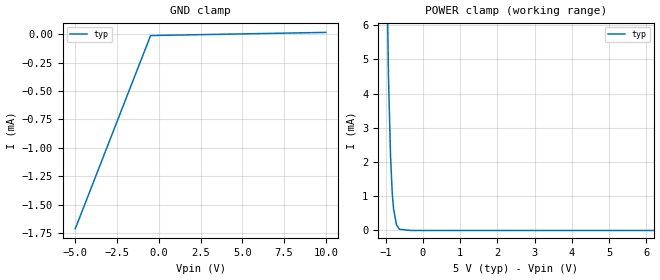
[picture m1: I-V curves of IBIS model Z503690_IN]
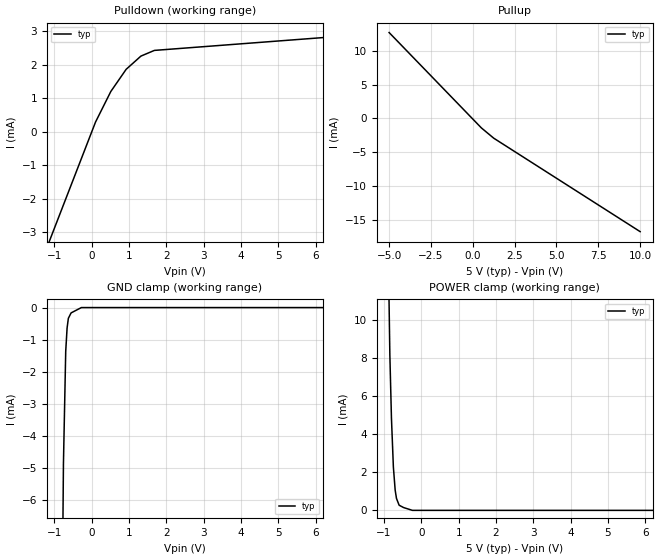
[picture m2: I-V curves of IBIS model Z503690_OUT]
| YOU ARE ONLY AUTHORIZED TO USE THIS SOFTWARE
| ACCORDING TO LICENSOR'S LICENSE RESTRICTIONS.
[IBIS Ver] 3.1
[File Name] mc14585bcl.ibs
[File Rev] 2.0
[Source] Measured and created by ICX Technology
[Date] Friday 7/14/00 9:07:57 AM
[Copyright]
| (C) COPYRIGHT 1993-2000
| MENTOR GRAPHICS CORPORATION
| ICX STANDARD LIBRARY, ICX PROJECT MODELING,
| ICX CUSTOM MODELING, ICX VENDOR MODEL
| ALL RIGHTS RESERVED.
| THE FOLLOWING ARE TRADEMARKS OR SERVICE MARKS OF
| MENTOR GRAPHICS CORPORATION:ICX (R), ICX STANDARD
| LIBRARY(R), ICX PROJECT MODELING(R), ICX CUSTOM
| MODELING(R), qualityIBIS(TM), MODELVIEWER(TM),
| AND MODELEDITOR(TM)
| ALL COPIES OF SOFTWARE, INCLUDING BUT NOT LIMITED TO
| ANY MODIFICATIONS, ENHANCEMENTS OR DERIVATIVE WORKS,
| MUST CONTAIN ALL MENTOR GRAPHICS CORPORATION'S
| NOTICES AND LEGENDS, INCLUDING THOSE EMBEDDED IN
| SOFTWARE AND THOSE AFFIXED TO SOFTWARE MEDIUM
| AND CONTAINER, AS RECEIVED FROM MENTOR GRAPHICS
| CORPORATION.
|  ZAP Model Builder 2.7
[Component] MC14585BCL
[Manufacturer] OnSemiconductor
[Package]
| variable   typ   min   max
R_pkg  .212ohms NA NA
L_pkg  4.758nH NA NA
C_pkg  1.944pF NA NA
[Pin] signal_name  model_name  R_pin  L_pin C_pin
1 B2 Z503690_IN .224 7.258n 2.683p
2 A2 Z503690_IN .216 5.258n 2.19p
3 A_EQ_B_O Z503690_OUT .208 3.758n 1.697p
4 A_GT_B_I Z503690_IN .2 2.758n 1.204p
5 A_LT_B_I Z503690_IN .2 2.758n 1.204p
6 A_EQ_B_I Z503690_IN .208 3.758n 1.697p
7 A1 Z503690_IN .216 5.258n 2.19p
8 VSS POWER .224 7.258n 2.683p
9 B1 Z503690_IN .224 7.258n 2.683p
10 A0 Z503690_IN .216 5.258n 2.19p
11 B0 Z503690_IN .208 3.758n 1.697p
12 A_LT_B_O Z503690_OUT .2 2.758n 1.204p
13 A_GT_B_O Z503690_OUT .2 2.758n 1.204p
14 B3 Z503690_IN .208 3.758n 1.697p
15 A3 Z503690_IN .216 5.258n 2.19p
16 VDD POWER .224 7.258n 2.683p
| Models and submodels in the file (2): Z503690_IN (Input), Z503690_OUT (Output)
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| (C) COPYRIGHT 1993-2000
| MENTOR GRAPHICS CORPORATION
| ICX STANDARD LIBRARY, ICX PROJECT MODELING,
| ICX CUSTOM MODELING, ICX VENDOR MODEL
| ALL RIGHTS RESERVED.
| THE FOLLOWING ARE TRADEMARKS OR SERVICE MARKS OF
| MENTOR GRAPHICS CORPORATION:ICX (R), ICX STANDARD
| LIBRARY(R), ICX PROJECT MODELING(R), ICX CUSTOM
| MODELING(R), qualityIBIS(TM), MODELVIEWER(TM),
| AND MODELEDITOR(TM)
| ALL COPIES OF SOFTWARE, INCLUDING BUT NOT LIMITED TO
| ANY MODIFICATIONS, ENHANCEMENTS OR DERIVATIVE WORKS,
| MUST CONTAIN ALL MENTOR GRAPHICS CORPORATION'S
| NOTICES AND LEGENDS, INCLUDING THOSE EMBEDDED IN
| SOFTWARE AND THOSE AFFIXED TO SOFTWARE MEDIUM
| AND CONTAINER, AS RECEIVED FROM MENTOR GRAPHICS
| CORPORATION.
| Model Application Version 1.89 2/18/99.
[Model] Z503690_IN
Model_type Input
Vinl = 1.500V
Vinh = 3.500V
C_comp 4.000pF NA NA
| variable typ   min   max
[Voltage Range] 5.000V NA NA
[GND Clamp Reference] 0.000V NA NA
[POWER Clamp Reference] 5.000V NA NA
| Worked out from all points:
|   POWER clamp passes 1 mA (typ) near -0.81 V on its own axis
[GND Clamp]
-5V       -1.712mA   NA         NA
-493.1mV  -12.24uA   NA         NA
10V       15.43uA    NA         NA
[POWER Clamp]
-5V       456mA      NA         NA
-1.001V   10.49mA    NA         NA
-922mV    4.494mA    NA         NA
-867mV    2.182mA    NA         NA
-820mV    1.074mA    NA         NA
-784mV    621.3uA    NA         NA
-707mV    166.6uA    NA         NA
-630mV    35.63uA    NA         NA
-315mV    0A         NA         NA
10V       0A         NA         NA
| (C) COPYRIGHT 1993-2000
| MENTOR GRAPHICS CORPORATION
| ICX STANDARD LIBRARY, ICX PROJECT MODELING,
| ICX CUSTOM MODELING, ICX VENDOR MODEL
| ALL RIGHTS RESERVED.
| THE FOLLOWING ARE TRADEMARKS OR SERVICE MARKS OF
| MENTOR GRAPHICS CORPORATION:ICX (R), ICX STANDARD
| LIBRARY(R), ICX PROJECT MODELING(R), ICX CUSTOM
| MODELING(R), qualityIBIS(TM), MODELVIEWER(TM),
| AND MODELEDITOR(TM)
| ALL COPIES OF SOFTWARE, INCLUDING BUT NOT LIMITED TO
| ANY MODIFICATIONS, ENHANCEMENTS OR DERIVATIVE WORKS,
| MUST CONTAIN ALL MENTOR GRAPHICS CORPORATION'S
| NOTICES AND LEGENDS, INCLUDING THOSE EMBEDDED IN
| SOFTWARE AND THOSE AFFIXED TO SOFTWARE MEDIUM
| AND CONTAINER, AS RECEIVED FROM MENTOR GRAPHICS
| CORPORATION.
| Model Application Version 1.89 2/18/99.
[Model] Z503690_OUT
Model_type Output
Vref=0.000V
Rref=500.0Mohms
Cref=50.00pF
Vmeas=2.500V
C_comp 8.000pF NA NA
| variable typ   min   max
[Voltage Range] 5.000V NA NA
[POWER Clamp Reference] 5.000V NA NA
[Pullup Reference] 5.000V NA NA
[Pulldown Reference] 0.000V NA NA
[GND Clamp Reference] 0.000V NA NA
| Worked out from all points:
|   slope of the pulldown table from 0 to 0.75 V, typ, clamps not added: 470 ohm
|   slope of the pullup table from 0 to 0.75 V, typ, clamps not added: 418 ohm
|   GND clamp passes 1 mA (typ) near -0.68 V on its own axis
|   POWER clamp passes 1 mA (typ) near -0.70 V on its own axis
[GND Clamp]
-5V       -568.9mA   NA         NA
-756.7mV  -4.856mA   NA         NA
-695.6mV  -1.359mA   NA         NA
-659.3mV  -640.9uA   NA         NA
-625mV    -334.8uA   NA         NA
-551.8mV  -165.8uA   NA         NA
-275.9mV  0A         NA         NA
10V       0A         NA         NA
[Pulldown]
-5V       -14.42mA   NA         NA
103.9mV   290.6uA    NA         NA
513.4mV   1.204mA    NA         NA
924.4mV   1.867mA    NA         NA
1.32V     2.262mA    NA         NA
1.68V     2.432mA    NA         NA
10V       3.138mA    NA         NA
[Pullup]
-5V       12.66mA    NA         NA
513mV     -1.389mA   NA         NA
1.251V    -2.903mA   NA         NA
10V       -16.67mA   NA         NA
[POWER Clamp]
-5V       550.5mA    NA         NA
-844mV    8.201mA    NA         NA
-801mV    4.845mA    NA         NA
-749mV    2.266mA    NA         NA
-701mV    1.058mA    NA         NA
-666mV    625.8uA    NA         NA
-595mV    270.7uA    NA         NA
-478mV    148.8uA    NA         NA
-239mV    0A         NA         NA
10V       0A         NA         NA
[Ramp]
| variable typ min max
dV/dt_r 2.591/14.90n NA NA
dV/dt_f 2.591/17.10n NA NA
R_load = 2.500kOhms
